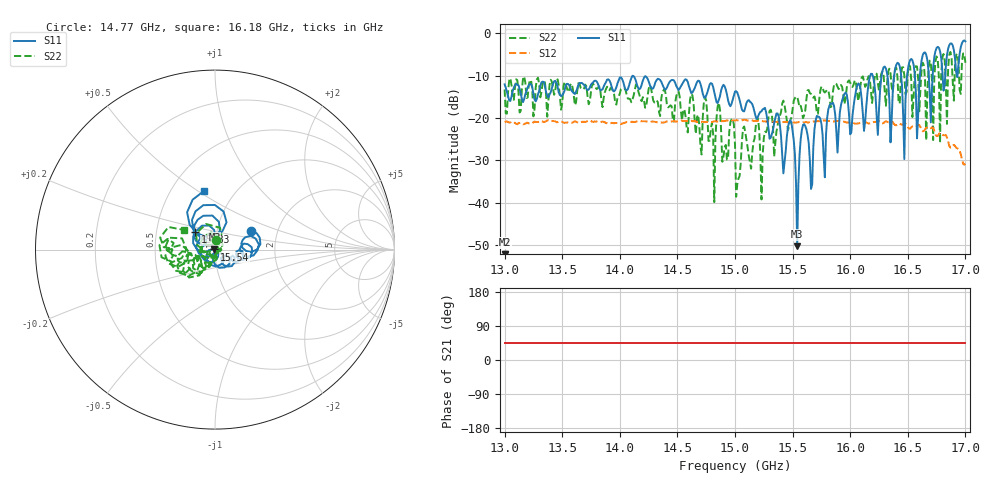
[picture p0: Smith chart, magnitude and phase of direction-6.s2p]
!Keysight Technologies,P9374A,MY57211810,A.19.30.04
!Date: Friday, May 02, 2025 08:57:32
!Correction: S11(Off)
!S21(Off)
!S12(Off)
!S22(Off)
!S2P File: Measurements: S11, S21, S12, S22:
# Hz S  dB  R 50
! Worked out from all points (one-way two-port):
!   401 points, 13 GHz to 17 GHz, reference 50 ohm
!   highest |S21| = - dB at 13 GHz (marker M1); lowest = - dB at 13 GHz (marker M2)
!   lowest |S11| = -50.2 dB at 15.54 GHz (marker M3), VSWR 1.01, Z = 49.7 + j0.0763 ohm
!   |S11| at or under -10 dB: start of sweep to 16.17 GHz; 16.19542 GHz to 16.27247 GHz (77.05 MHz wide, 0.475 % of centre); 16.32275 GHz to 16.38123 GHz (58.49 MHz wide, 0.358 % of centre) (the widest 3 of 8)
!   |S22| runs from -39.8 to -4.4 dB; largest |S21 - S12| = 0.096
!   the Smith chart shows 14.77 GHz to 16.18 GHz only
!   S11 on the Smith chart (normalised r, x): 14.77 GHz: 1.46, +0.31; 15.54 GHz: 0.99, +0.00; 15.83 GHz: 0.79, +0.16; 16.18 GHz: 0.72, +0.53
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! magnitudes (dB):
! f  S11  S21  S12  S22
! 13 GHz  -12.1  -  -21.0  -13.3
! 13.67 GHz  -11.7  -  -20.9  -13.1
! 14.34 GHz  -10.8  -  -21.0  -18.5
! 14.77 GHz  -13.0  -  -20.9  -25.4
! 15 GHz  -13.7  -  -20.6  -26.2
! 15.37 GHz  -18.9  -  -21.0  -21.8
! 15.42 GHz  -33.0  -  -20.9  -15.9
! 15.48 GHz  -20.5  -  -21.0  -20.5
! 15.54 GHz  -50.2  -  -21.0  -14.9
! 15.6 GHz  -21.4  -  -21.0  -19.4
! 15.67 GHz  -35.6  -  -20.9  -14.9
! 15.83 GHz  -16.6  -  -20.7  -17.4
! 16.12 GHz  -23.0  -  -21.0  -11.3
! 16.18 GHz  -9.6  -  -21.1  -13.7
! 16.34 GHz  -15.8  -  -21.0  -8.4
! 16.41 GHz  -7.0  -  -21.6  -10.2
! 16.47 GHz  -29.7  -  -21.3  -10.0
! 16.52 GHz  -6.3  -  -22.5  -7.8
! 16.58 GHz  -24.8  -  -21.9  -7.8
! 16.64 GHz  -4.6  -  -23.0  -7.6
! 16.7 GHz  -21.0  -  -22.4  -7.0
! 17 GHz  -1.9  -  -30.8  -7.0
